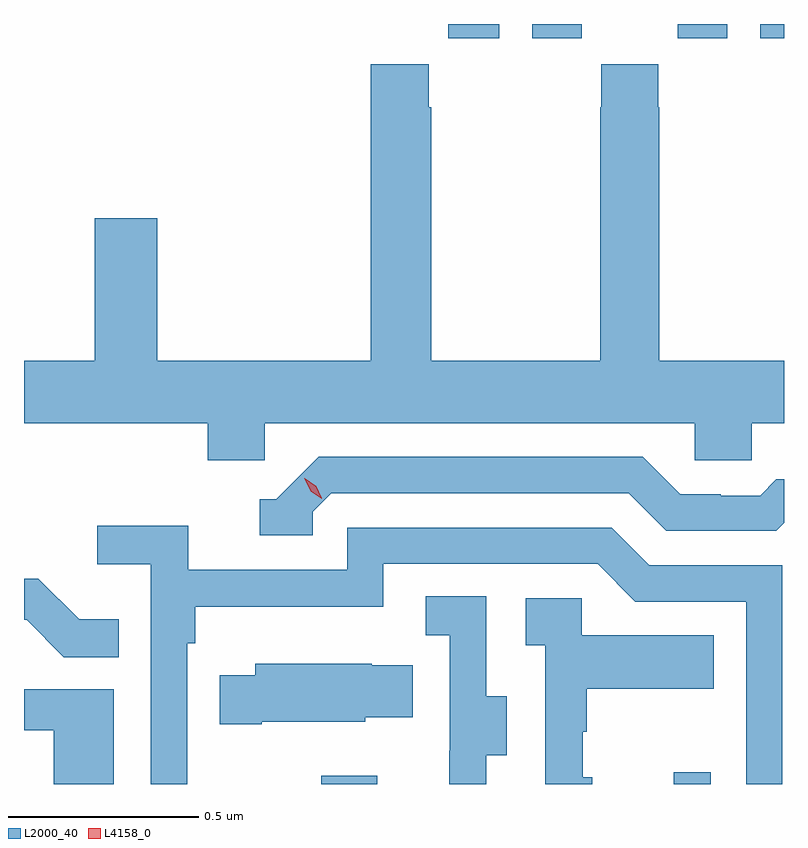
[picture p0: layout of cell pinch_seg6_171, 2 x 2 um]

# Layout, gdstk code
import gdstk
lib = gdstk.Library(unit=1e-6, precision=1e-09)
def R(c, l, rs):  # rectangles x0, y0, x1, y1
    for r in rs: c.add(gdstk.rectangle(r[:2], r[2:], *l))
def P(c, l, *ps):  # polygons
    for p in ps: c.add(gdstk.Polygon(p, *l))
L2000_40 = (2000, 40)
L4158_0 = (4158, 0)

pinch_seg6_171 = lib.new_cell('pinch_seg6_171')
R(pinch_seg6_171, L2000_40, [(1028.74,942.39,1028.887,942.412), (1029.668,942.39,1029.765,942.421), (1029.074,944.352,1029.208,944.39), (1029.296,944.352,1029.426,944.39), (1029.678,944.352,1029.808,944.39), (1029.896,944.352,1029.958,944.39)])
P(pinch_seg6_171, L2000_40, [(1028.592,943.34),(1029.723,943.34),(1029.723,943.242),(1029.873,943.242),(1029.873,943.34),(1029.958,943.34),(1029.958,943.504),(1029.63,943.504),(1029.63,944.171),(1029.627,944.171),(1029.627,944.284),(1029.477,944.284),(1029.477,944.171),(1029.475,944.171),(1029.475,943.504),(1029.03,943.504),(1029.03,944.171),(1029.023,944.171),(1029.023,944.284),(1028.87,944.284),(1028.87,943.504),(1028.308,943.504),(1028.308,943.879),(1028.144,943.879),(1028.144,943.504),(1027.958,943.504),(1027.958,943.34),(1028.441,943.34),(1028.441,943.242),(1028.592,943.242)],
  [(1028.718,943.107),(1028.766,943.155),(1029.549,943.155),(1029.648,943.056),(1029.937,943.056),(1029.958,943.077),(1029.958,943.192),(1029.937,943.192),(1029.895,943.149),(1029.792,943.149),(1029.792,943.152),(1029.685,943.152),(1029.586,943.251),(1028.733,943.251),(1028.622,943.14),(1028.579,943.14),(1028.579,943.044),(1028.718,943.044)],
  [(1028.388,942.761),(1028.408,942.761),(1028.408,942.857),(1028.904,942.857),(1028.904,942.969),(1029.468,942.969),(1029.567,942.87),(1029.858,942.87),(1029.858,942.39),(1029.954,942.39),(1029.954,942.966),(1029.604,942.966),(1029.505,943.065),(1028.808,943.065),(1028.808,942.954),(1028.39,942.954),(1028.39,943.07),(1028.151,943.07),(1028.151,942.968),(1028.292,942.968),(1028.292,942.39),(1028.388,942.39)],
  [(1028.207,942.823),(1028.103,942.823),(1027.996,942.93),(1027.958,942.93),(1027.958,942.822),(1027.965,942.822),(1028.063,942.724),(1028.207,942.724)],
  [(1029.175,942.466),(1029.229,942.466),(1029.229,942.621),(1029.174,942.621),(1029.174,942.884),(1029.015,942.884),(1029.015,942.781),(1029.078,942.781),(1029.078,942.477),(1029.077,942.477),(1029.077,942.39),(1029.175,942.39)],
  [(1029.454,942.408),(1029.429,942.408),(1029.429,942.527),(1029.439,942.527),(1029.439,942.641),(1029.773,942.641),(1029.773,942.781),(1029.426,942.781),(1029.426,942.879),(1029.279,942.879),(1029.279,942.755),(1029.33,942.755),(1029.33,942.39),(1029.454,942.39)],
  [(1028.584,942.554),(1028.856,942.554),(1028.856,942.566),(1028.981,942.566),(1028.981,942.703),(1028.873,942.703),(1028.873,942.706),(1028.567,942.706),(1028.567,942.676),(1028.473,942.676),(1028.473,942.547),(1028.584,942.547)],
  [(1028.194,942.639),(1027.958,942.639),(1027.958,942.531),(1028.036,942.531),(1028.036,942.39),(1028.194,942.39)])
P(pinch_seg6_171, L4158_0, [(1028.742,943.141),(1028.712,943.161),(1028.696,943.194),(1028.696,943.195),(1028.697,943.195),(1028.727,943.174),(1028.742,943.142),(1028.742,943.141)])

lib.write_gds('pinch_seg6_171.gds')
